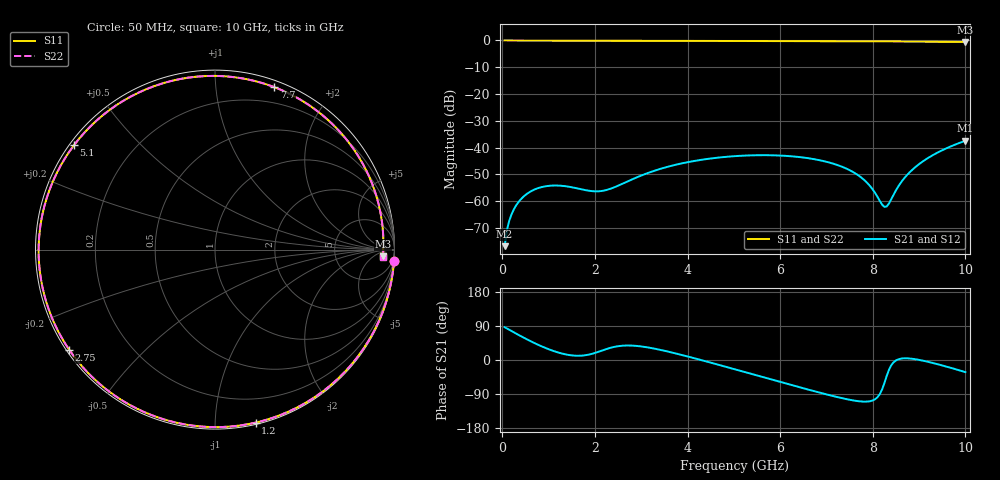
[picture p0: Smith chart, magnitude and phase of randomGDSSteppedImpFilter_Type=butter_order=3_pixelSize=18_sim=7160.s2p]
! freq	dB(S11)	phase(S11)	dB(S12)	phase(S12)
!  dB(S21)	phase(S21)	dB(S22)	phase(S22)
!S-par simulation data
#  GHz  S  DB  R 50
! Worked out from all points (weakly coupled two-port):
!   200 points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, 50 MHz to 10 GHz, reference 50 ohm
!   highest |S21| = -37.42 dB at 10 GHz (marker M1); lowest = -76.7 dB at 50 MHz (marker M2)
!   lowest |S11| = -0.6 dB at 10 GHz (marker M3), VSWR 30.25, Z = 1.11e+03 - j667 ohm
!   |S11| at or under -10 dB: nowhere
!   |S22| runs from -0.6 to 0.0 dB; largest |S21 - S12| = 0
!   S11 on the Smith chart (normalised r, x): 50 MHz: 0, -33; 1.2 GHz: 0.01, -1.26; 2.75 GHz: 0.01, -0.31; 5.1 GHz: 0.01, +0.33; 7.7 GHz: 0.06, +1.43; 10 GHz: 22, -13
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0.05  -0.00 -3.5  -76.74 86.6  -76.74 86.6  -0.00 -3.5
0.1  -0.01 -7.0  -70.75 83.1  -70.75 83.1  -0.01 -7.0
0.15  -0.01 -10.4  -67.27 79.7  -67.27 79.7  -0.01 -10.4
0.4  -0.04 -27.4  -59.26 63.0  -59.26 63.0  -0.04 -27.4
0.75  -0.06 -50.1  -55.23 41.5  -55.23 41.5  -0.06 -50.1
1.2  -0.09 -76.8  -54.12 20.0  -54.12 20.0  -0.09 -76.7
1.75  -0.11 -104.8  -55.68 11.8  -55.68 11.8  -0.11 -104.8
2.2  -0.12 -124.5  -55.99 27.0  -55.99 27.0  -0.12 -124.5
2.75  -0.13 -145.5  -52.23 38.2  -52.23 38.2  -0.13 -145.5
3.4  -0.14 -167.3  -47.97 27.1  -47.97 27.1  -0.14 -167.3
4.2  -0.16 168.8  -44.79 2.9  -44.79 2.9  -0.16 168.7
5.05  -0.19 144.9  -43.12 -25.5  -43.12 -25.5  -0.19 144.8
5.1  -0.20 143.5  -43.07 -27.2  -43.07 -27.2  -0.20 143.4
5.95  -0.23 120.1  -42.90 -56.1  -42.90 -56.1  -0.23 120.0
6.7  -0.27 99.1  -44.18 -81.2  -44.18 -81.2  -0.27 98.9
7.7  -0.32 69.9  -50.46 -108.9  -50.46 -108.9  -0.32 69.7
7.95  -0.34 62.4  -54.50 -108.5  -54.50 -108.5  -0.34 62.2
8.25  -0.36 53.2  -62.08 -61.2  -62.08 -61.2  -0.36 53.0
8.35  -0.37 50.2  -60.81 -25.7  -60.81 -25.7  -0.37 49.9
8.6  -0.39 42.4  -53.19 3.4  -53.19 3.4  -0.39 42.2
8.95  -0.42 31.5  -46.80 1.4  -46.80 1.4  -0.42 31.2
10  -0.57 -2.3  -37.42 -32.0  -37.42 -32.0  -0.57 -2.5
